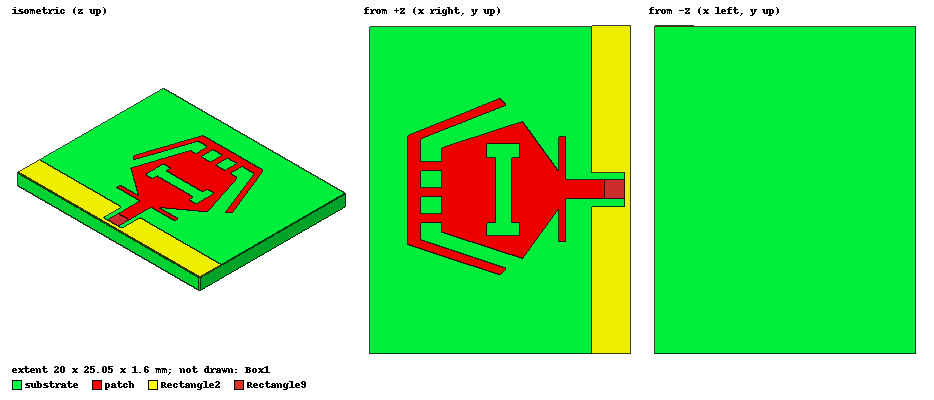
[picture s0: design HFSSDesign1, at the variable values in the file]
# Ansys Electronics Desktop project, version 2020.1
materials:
  vacuum: permittivity=1
  Rogers RO4003 (tm): permittivity=3.55 dielectric_loss_tangent=0.0027
  Rogers RO4350 (tm): permittivity=3.66 dielectric_loss_tangent=0.004
  air: permittivity=1.0006 permeability=1.0000004

design HFSSDesign1 (HFSS, DrivenModal, model units mm)
options: Calculate_Lossy_Dielectrics
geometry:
  substrate [Rogers RO4350 (tm)] = box(corner=(-10mm, (-7.5-5) mm, 0mm), size=(20mm, (15+10) mm, 1.6mm))
  patch = regular_polygon(axis=Z, centre=(0mm, 0mm, 1.6mm), first_corner=(5.5mm, 0mm, 1.6mm), sides=5)
  Rectangle1 = rectangle(corner=(4mm, -0.7mm, 1.6mm), x_size=(6-1.5-0.5) mm, y_size=1.5mm)
  patch_1 = rectangle(corner=((8-1) mm, (-7.5-5) mm, 1.6mm), x_size=(2+1) mm, y_size=(6.25+5) mm)
  Rectangle2 = rectangle(corner=((8-1) mm, 1.3mm, 1.6mm), x_size=(2+1) mm, y_size=(6.25+5) mm)
  Rectangle3 = rectangle(corner=(4.4914202mm, 0.79mm, 1.6mm), x_size=0.5mm, y_size=3.25mm)
  Rectangle4 = rectangle(corner=(4.4914202mm, -3.95mm, 1.6mm), x_size=0.5mm, y_size=3.25mm)
  patch.unite(Rectangle4, Rectangle3)
  Rectangle5 = rectangle(corner=(-4.1mm, -0.5mm, 1.6mm), x_size=-2mm, y_size=0.7mm)
  Rectangle6 = rectangle(corner=(-7.1mm, -4.15mm, 1.6mm), x_size=1mm, y_size=8.3mm)
  Polyline1 = polyline(z=1.6mm, xy in mm: (-7.1, -4.15) (0, -6.5) (0.5, -6) (-6.1, -3.8) (-7.1, -3.8) (-7.1, -4.15), closed, covered)
  Rectangle6.unite(Polyline1)
  Polyline2 = polyline(z=1.6mm, xy in mm: (-7.1, 4.15) (0, 7) (0.5, 6.5) (-6.1, 3.9) (-7.1, 3.9) (-7.1, 4.15), closed, covered)
  Rectangle6.unite(Polyline2)
  Box1 [air] = box(corner=(-30mm, -30mm, -5mm), size=(60mm, 60mm, 10mm))
  Rectangle8 = rectangle(corner=(10mm, -1.25mm, 1.6mm), x_size=-0.5mm, y_size=2.75mm)
  Rectangle2.unite(Rectangle8)
  Rectangle2.unite(patch_1)
  patch.unite(Rectangle1)
  Rectangle9 = rectangle(corner=(8mm, -0.7mm, 1.6mm), x_size=1.5mm, y_size=1.5mm)
  Rectangle10 = rectangle(corner=(-4.1mm, (-0.5-2) mm, 1.6mm), x_size=-2mm, y_size=0.7mm)
  Rectangle11 = rectangle(corner=(-4.1mm, (-0.5+2) mm, 1.6mm), x_size=-2mm, y_size=0.7mm)
  Rectangle6.unite(Rectangle10, Rectangle5, Rectangle11)
  patch.unite(Rectangle6)
  Rectangle12 = rectangle(corner=(1.5mm, -3.5mm, 1.6mm), x_size=-2.5mm, y_size=1mm)
  Rectangle13 = rectangle(corner=(1.5mm, (-3.5+6) mm, 1.6mm), x_size=-2.5mm, y_size=1mm)
  Rectangle14 = rectangle(corner=(-0.375mm, -2.5mm, 1.6mm), x_size=1.25mm, y_size=5mm)
  Rectangle12.unite(Rectangle14, Rectangle13)
  patch.subtract(Rectangle12)
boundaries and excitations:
  Rad1: Radiation Objects=Box1
  PerfE1: Perfect E Objects=patch
  PerfE2: Perfect E Objects=Rectangle2
  1: Lumped Port Objects=Rectangle9 Modes{Mode1{IntLine{middle of Rectangle9.edge(x opposite corner) -> middle of Rectangle9.edge(x at corner)} CharImp=Zpi RenormImp=50ohm}} Impedance=50ohm
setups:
  Setup1: HfssDriven Frequency=5.2GHz MaxDeltaS=0.02 MaximumPasses=20 MinimumPasses=1 MinimumConvergedPasses=1 PercentRefinement=30 BasisOrder=1 PortAccuracy=2
    sweep Sweep: 0.1GHz to 15GHz step 0.01GHz; Type=Fast SaveFields
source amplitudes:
  1:1: 1W 0deg
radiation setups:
  Infinite Sphere1: Infinite Sphere Theta=0deg..360deg step 10deg Phi=-180deg..180deg step 10deg
  Infinite Sphere2: Infinite Sphere Theta=0deg..180deg step 10deg Phi=0deg..360deg step 10deg
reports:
  XY Plot 1: dB(S(1,1)) vs Freq on Setup1 : Sweep; markers m1 at 3.21GHz, m2 at 9.13GHz, m3 at 2.73GHz, m4 at 3.92GHz, m5 at 7.92GHz, m6 at 13.3GHz, MX1 at x=2.7124183e+09, MX2 at x=3.9052288e+09
  XY Plot 2: dB(S(1,1)) vs Freq on Setup1 : Sweep
  Polar Plot 1: S(1,1) on Setup1 : Sweep [Freq=all]
  S Parameter Plot 1: dB(S(1,1)) vs Freq on Setup1 : Sweep; markers m1 at 3.21GHz
  Gain Plot 1: GainTotal vs Theta on Setup1 : Sweep, Infinite Sphere1 [Phi=0deg,90deg Freq=5.2GHz]; markers m1 at 10deg
  Gain Plot 2: GainTotal vs Phi, Theta on Setup1 : Sweep, Infinite Sphere1 [Freq=5.2GHz]
  VSWR Plot 1: VSWR(1) vs Freq on Setup1 : Sweep
  rE Plot 1: rETotal vs Phi, Theta on Setup1 : LastAdaptive, Infinite Sphere1 [Freq=5.2GHz]
